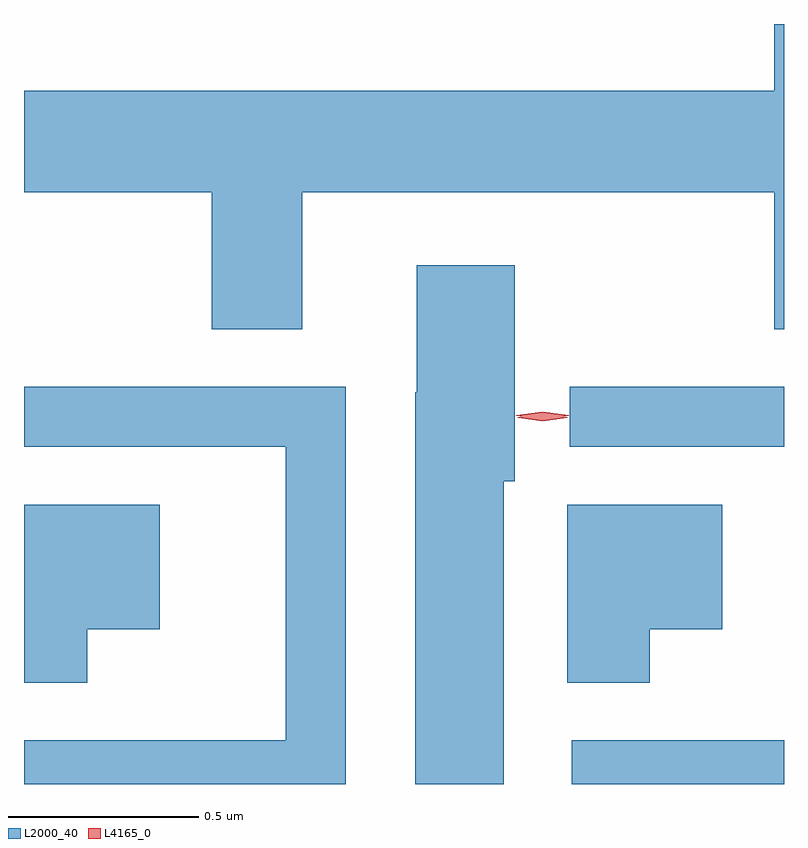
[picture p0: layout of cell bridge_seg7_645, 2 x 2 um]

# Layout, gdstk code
import gdstk
lib = gdstk.Library(unit=1e-6, precision=1e-09)
def R(c, l, rs):  # rectangles x0, y0, x1, y1
    for r in rs: c.add(gdstk.rectangle(r[:2], r[2:], *l))
def P(c, l, *ps):  # polygons
    for p in ps: c.add(gdstk.Polygon(p, *l))
L2000_40 = (2000, 40)
L4165_0 = (4165, 0)

bridge_seg7_645 = lib.new_cell('bridge_seg7_645')
R(bridge_seg7_645, L2000_40, [(771.043,1694.999,771.602,1695.114), (771.038,1695.886,771.602,1696.044)])
P(bridge_seg7_645, L2000_40, [(770.334,1696.556),(771.576,1696.556),(771.576,1696.196),(771.602,1696.196),(771.602,1696.999),(771.576,1696.999),(771.576,1696.824),(769.602,1696.824),(769.602,1696.556),(770.096,1696.556),(770.096,1696.196),(770.334,1696.196)],
  [(770.864,1695.796),(770.894,1695.796),(770.894,1696.364),(770.636,1696.364),(770.636,1696.03),(770.631,1696.03),(770.631,1694.999),(770.864,1694.999)],
  [(770.449,1696.044),(769.602,1696.044),(769.602,1695.886),(770.291,1695.886),(770.291,1695.114),(769.602,1695.114),(769.602,1694.999),(770.449,1694.999)],
  [(771.249,1695.406),(771.439,1695.406),(771.439,1695.734),(771.031,1695.734),(771.031,1695.266),(771.249,1695.266)],
  [(769.769,1695.406),(769.959,1695.406),(769.959,1695.734),(769.602,1695.734),(769.602,1695.266),(769.769,1695.266)])
P(bridge_seg7_645, L4165_0, [(770.967,1695.959),(770.898,1695.968),(770.898,1695.969),(770.898,1695.969),(770.967,1695.979),(771.036,1695.969),(771.036,1695.968),(771.036,1695.968)],
  [(770.967,1695.954),(770.902,1695.963),(770.901,1695.963),(770.902,1695.964),(770.967,1695.973),(771.032,1695.964),(771.032,1695.963),(771.032,1695.963)])

lib.write_gds('bridge_seg7_645.gds')
